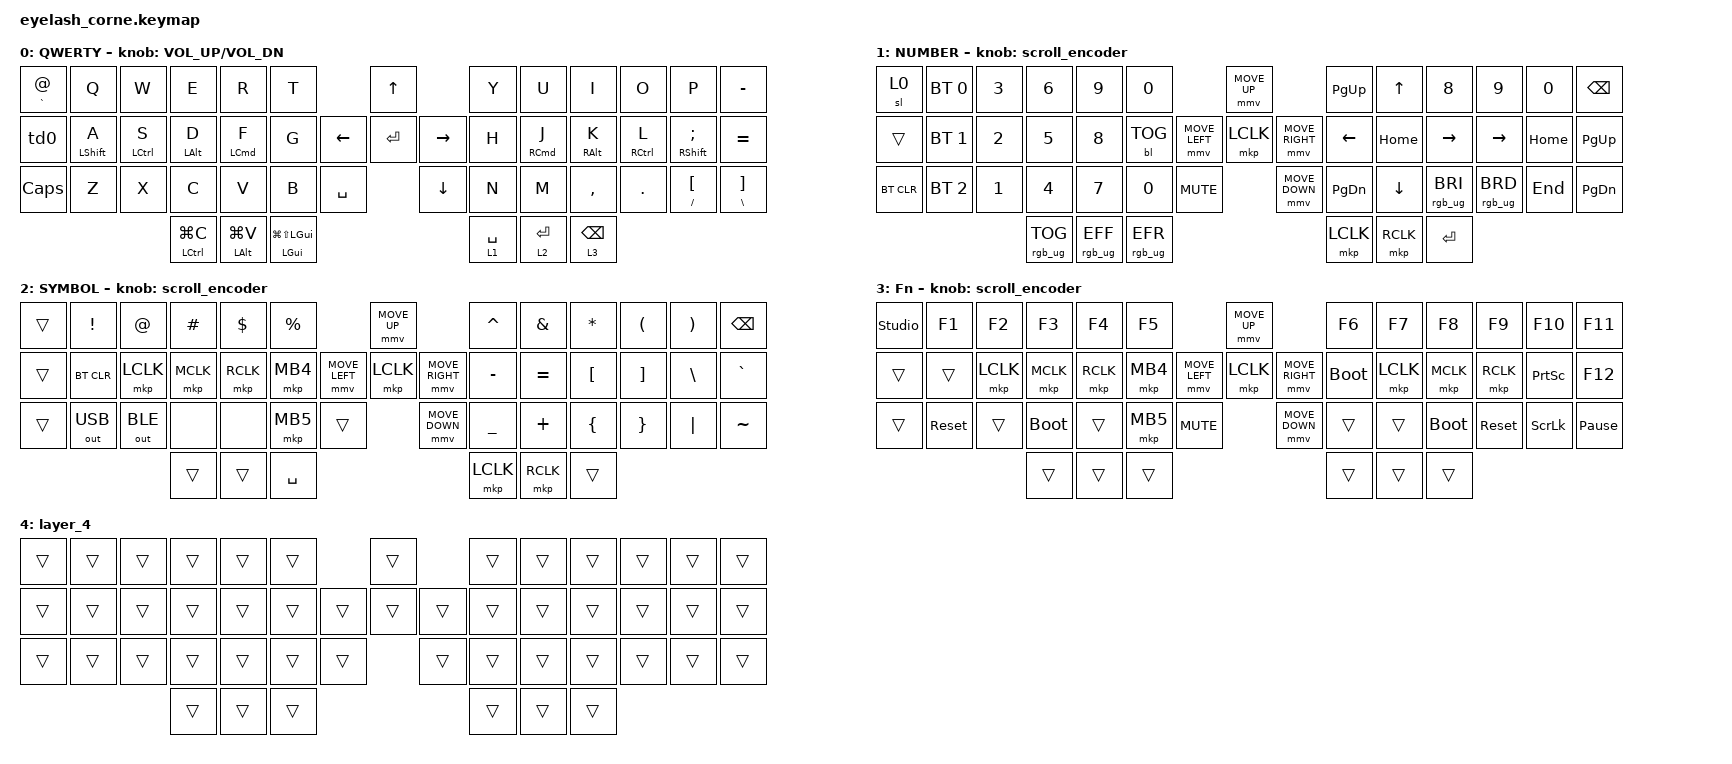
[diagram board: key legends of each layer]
#define ZMK_POINTING_DEFAULT_MOVE_VAL 1200  // 600
#define ZMK_POINTING_DEFAULT_SCRL_VAL 25   // 10

#include <input/processors.dtsi>
#include <zephyr/dt-bindings/input/input-event-codes.h>
#include <behaviors.dtsi>
#include <dt-bindings/zmk/backlight.h>
#include <dt-bindings/zmk/bt.h>
#include <dt-bindings/zmk/keys.h>
#include <dt-bindings/zmk/outputs.h>
#include <dt-bindings/zmk/pointing.h>
#include <dt-bindings/zmk/rgb.h>

&mmv_input_listener { input-processors = <&zip_xy_scaler 2 1>; };

&msc_input_listener { input-processors = <&zip_scroll_scaler 2 1>; };

&msc {
    acceleration-exponent = <1>;      // 0
    time-to-max-speed-ms = <100>;       // 300
    delay-ms = <0>;                   // 0
};

&mmv {
    time-to-max-speed-ms = <500>;
    acceleration-exponent = <1>;
    trigger-period-ms = <16>;
};

&soft_off { hold-time-ms = <2000>; };

/ {
    behaviors {
        td0: td0 {
            compatible = "zmk,behavior-tap-dance";
            display-name = "Shift/Caps Lock Tap Dance";
            #binding-cells = <0>;
            bindings = <&kp LEFT_SHIFT>, <&kp CAPS>;
        };
    };

    rgb_encoder: rgb_encoder {
        compatible = "zmk,behavior-sensor-rotate";
        #sensor-binding-cells = <0>;
        bindings = <&rgb_ug RGB_BRI>, <&rgb_ug RGB_BRD>;
    };

    scroll_encoder: scroll_encoder {
        compatible = "zmk,behavior-sensor-rotate";
        #sensor-binding-cells = <0>;
        bindings = <&msc SCRL_DOWN>, <&msc SCRL_UP>;

        tap-ms = <100>;
    };

    combos {
        compatible = "zmk,combos";

        softoff {
            bindings = <&soft_off>;
            key-positions = <1 15 29>;
        };
    };

    keymap {
        compatible = "zmk,keymap";

        default_layer {
            display-name = "QWERTY";
            bindings = <
&mt GRAVE AT_SIGN  &kp Q             &kp W               &kp E            &kp R               &kp T                                         &kp UP                &kp Y        &kp U                &kp I            &kp O                &kp P                  &kp MINUS
&td0               &mt LEFT_SHIFT A  &mt LEFT_CONTROL S  &mt LEFT_ALT D   &mt LEFT_COMMAND F  &kp G                               &kp LEFT  &kp ENTER  &kp RIGHT  &kp H        &mt RIGHT_COMMAND J  &mt RIGHT_ALT K  &mt RIGHT_CONTROL L  &mt RIGHT_SHIFT SEMI   &kp EQUAL
&kp CAPS           &kp Z             &kp X               &kp C            &kp V               &kp B                  &kp SPACE              &kp DOWN              &kp N        &kp M                &kp COMMA        &kp DOT              &mt FSLH LEFT_BRACKET  &mt BACKSLASH RIGHT_BRACKET
                                                         &mt LCTRL LG(C)  &mt LEFT_ALT LG(V)  &mt LGUI LG(LS(LGUI))                                               &lt 1 SPACE  &lt 2 ENTER          &lt 3 BACKSPACE
            >;

            sensor-bindings = <&inc_dec_kp C_VOLUME_UP C_VOL_DN>;
        };

        lower_layer {
            display-name = "NUMBER";
            bindings = <
&sl 0       &bt BT_SEL 0  &kp NUMBER_3  &kp NUMBER_6     &kp N9           &kp NUMBER_0                                   &mmv MOVE_UP                     &kp PAGE_UP    &kp UP     &kp N8           &kp N9           &kp N0    &kp BSPC
&trans      &bt BT_SEL 1  &kp NUMBER_2  &kp N5           &kp N8           &bl BL_TOG                     &mmv MOVE_LEFT  &mkp LCLK       &mmv MOVE_RIGHT  &kp LEFT       &kp HOME   &kp RIGHT        &kp RIGHT        &kp HOME  &kp PG_UP
&bt BT_CLR  &bt BT_SEL 2  &kp NUMBER_1  &kp NUMBER_4     &kp N7           &kp NUMBER_0     &kp C_MUTE                    &mmv MOVE_DOWN                   &kp PAGE_DOWN  &kp DOWN   &rgb_ug RGB_BRI  &rgb_ug RGB_BRD  &kp END   &kp PG_DN
                                        &rgb_ug RGB_TOG  &rgb_ug RGB_EFF  &rgb_ug RGB_EFR                                                                 &mkp LCLK      &mkp RCLK  &kp ENTER
            >;

            sensor-bindings = <&scroll_encoder>;
        };

        raise_layer {
            display-name = "SYMBOL";
            bindings = <
&trans  &kp EXCL      &kp AT        &kp HASH   &kp DLLR   &kp PRCNT                            &mmv MOVE_UP                     &kp CARET  &kp AMPS   &kp ASTRK  &kp LPAR  &kp RPAR  &kp BSPC
&trans  &bt BT_CLR    &mkp LCLK     &mkp MCLK  &mkp RCLK  &mkp MB4             &mmv MOVE_LEFT  &mkp LCLK       &mmv MOVE_RIGHT  &kp MINUS  &kp EQUAL  &kp LBKT   &kp RBKT  &kp BSLH  &kp GRAVE
&trans  &out OUT_USB  &out OUT_BLE  &none      &none      &mkp MB5   &trans                    &mmv MOVE_DOWN                   &kp UNDER  &kp PLUS   &kp LBRC   &kp RBRC  &kp PIPE  &kp TILDE
                                    &trans     &trans     &kp SPACE                                                             &mkp LCLK  &mkp RCLK  &trans
            >;

            sensor-bindings = <&scroll_encoder>;
        };

        layer_3 {
            display-name = "Fn";
            bindings = <
&studio_unlock  &kp F1      &kp F2     &kp F3       &kp F4     &kp F5                                  &mmv MOVE_UP                     &kp F6       &kp F7     &kp F8       &kp F9      &kp F10          &kp F11
&trans          &trans      &mkp LCLK  &mkp MCLK    &mkp RCLK  &mkp MB4                &mmv MOVE_LEFT  &mkp LCLK       &mmv MOVE_RIGHT  &bootloader  &mkp LCLK  &mkp MCLK    &mkp RCLK   &kp PRINTSCREEN  &kp F12
&trans          &sys_reset  &trans     &bootloader  &trans     &mkp MB5  &kp C_MUTE                    &mmv MOVE_DOWN                   &trans       &trans     &bootloader  &sys_reset  &kp SCROLLLOCK   &kp PAUSE_BREAK
                                       &trans       &trans     &trans                                                                   &trans       &trans     &trans
            >;

            sensor-bindings = <&scroll_encoder>;
        };

        layer_4 {
            bindings = <
&trans  &trans  &trans  &trans  &trans  &trans                    &trans          &trans  &trans  &trans  &trans  &trans  &trans
&trans  &trans  &trans  &trans  &trans  &trans            &trans  &trans  &trans  &trans  &trans  &trans  &trans  &trans  &trans
&trans  &trans  &trans  &trans  &trans  &trans  &trans            &trans          &trans  &trans  &trans  &trans  &trans  &trans
                        &trans  &trans  &trans                                    &trans  &trans  &trans
            >;
        };
    };
};
